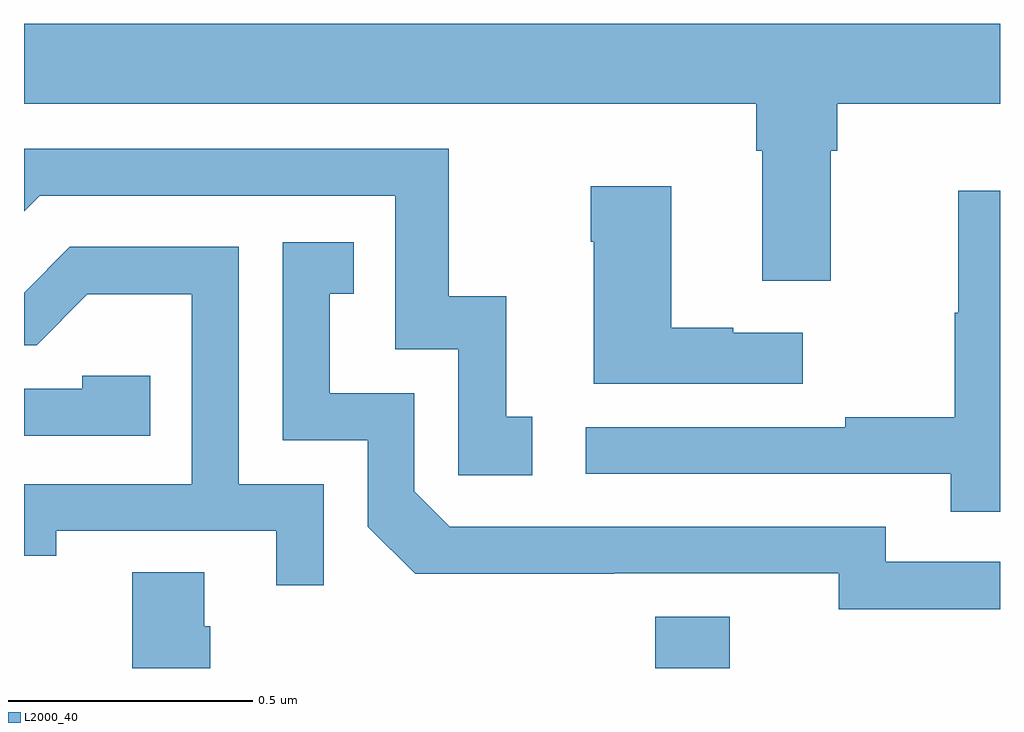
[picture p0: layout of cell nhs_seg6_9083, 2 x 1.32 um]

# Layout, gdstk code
import gdstk
lib = gdstk.Library(unit=1e-6, precision=1e-09)
def R(c, l, rs):  # rectangles x0, y0, x1, y1
    for r in rs: c.add(gdstk.rectangle(r[:2], r[2:], *l))
def P(c, l, *ps):  # polygons
    for p in ps: c.add(gdstk.Polygon(p, *l))
L2000_40 = (2000, 40)

nhs_seg6_9083 = lib.new_cell('nhs_seg6_9083')
R(nhs_seg6_9083, L2000_40, [(230.294,959.5,230.446,959.605)])
P(nhs_seg6_9083, L2000_40, [(230.653,960.56),(230.666,960.56),(230.666,960.656),(231,960.656),(231,960.82),(229,960.82),(229,960.656),(230.501,960.656),(230.501,960.56),(230.513,960.56),(230.513,960.294),(230.653,960.294)],
  [(230.041,960.015),(229.988,960.015),(229.988,960.262),(229.87,960.262),(229.87,960.564),(229,960.564),(229,960.436),(229.032,960.468),(229.761,960.468),(229.761,960.153),(229.89,960.153),(229.89,959.895),(230.041,959.895)],
  [(230.596,960.187),(230.453,960.187),(230.453,960.197),(230.326,960.197),(230.326,960.487),(230.161,960.487),(230.161,960.374),(230.168,960.374),(230.168,960.083),(230.596,960.083)],
  [(231,960.478),(230.914,960.478),(230.914,960.228),(230.907,960.228),(230.907,960.014),(230.683,960.014),(230.683,959.994),(230.151,959.994),(230.151,959.898),(230.899,959.898),(230.899,959.82),(231,959.82)],
  [(231,959.718),(230.766,959.718),(230.766,959.79),(229.872,959.79),(229.8,959.862),(229.8,960.063),(229.627,960.063),(229.627,960.267),(229.676,960.267),(229.676,960.373),(229.53,960.373),(229.53,959.967),(229.704,959.967),(229.704,959.79),(229.802,959.693),(230.21,959.693),(230.21,959.694),(230.67,959.694),(230.67,959.621),(231,959.621)],
  [(229.614,959.877),(229.44,959.877),(229.44,960.363),(229.094,960.363),(229,960.269),(229,960.162),(229.026,960.162),(229.13,960.266),(229.344,960.266),(229.344,959.877),(229,959.877),(229,959.73),(229.066,959.73),(229.066,959.781),(229.517,959.781),(229.517,959.67),(229.614,959.67)],
  [(229.259,960.099),(229.119,960.099),(229.119,960.072),(229,960.072),(229,959.976),(229.259,959.976)],
  [(229.382,959.586),(229.369,959.586),(229.369,959.696),(229.222,959.696),(229.222,959.5),(229.382,959.5)])

lib.write_gds('nhs_seg6_9083.gds')
